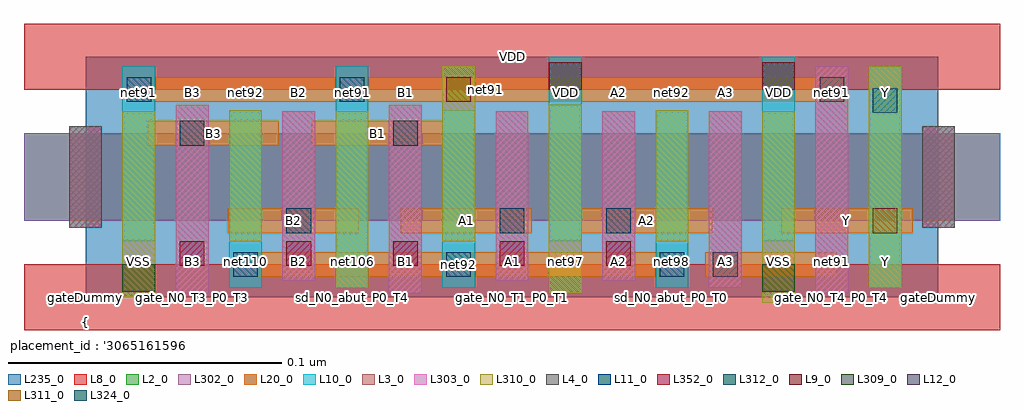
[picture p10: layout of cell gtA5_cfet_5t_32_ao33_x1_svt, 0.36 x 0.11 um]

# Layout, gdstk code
import gdstk
lib = gdstk.Library(unit=1e-6, precision=2.5e-10)
def R(c, l, rs):  # rectangles x0, y0, x1, y1
    for r in rs: c.add(gdstk.rectangle(r[:2], r[2:], *l))
def A(c, l, x, y, w, h, nx, ny, dx, dy):  # array of equal rectangles
    R(c, l, [(x+i*dx, y+j*dy, x+i*dx+w, y+j*dy+h) for i in range(nx) for j in range(ny)])
L2_0 = (2, 0)
L3_0 = (3, 0)
L4_0 = (4, 0)
L8_0 = (8, 0)
L9_0 = (9, 0)
L10_0 = (10, 0)
L11_0 = (11, 0)
L12_0 = (12, 0)
L20_0 = (20, 0)
L235_0 = (235, 0)
L302_0 = (302, 0)
L303_0 = (303, 0)
L309_0 = (309, 0)
L310_0 = (310, 0)
L311_0 = (311, 0)
L312_0 = (312, 0)
L324_0 = (324, 0)
L352_0 = (352, 0)

gta5_cfet_5t_32_ao33_x1_ = lib.new_cell('gtA5_cfet_5t_32_ao33_x1_svt')
R(gta5_cfet_5t_32_ao33_x1_, L2_0, [(-0.0225,0.028,0.3345,0.06)])
R(gta5_cfet_5t_32_ao33_x1_, L3_0, [(0.033,0.0015,0.045,0.0705), (0.111,0.0015,0.123,0.0705), (0.267,0.0015,0.279,0.0845), (0.228,0.0035,0.24,0.068), (0.072,0.006,0.084,0.068), (0.15,0.006,0.162,0.068), (0.189,0.006,0.201,0.068), (-0.006,0.0255,0.006,0.0625), (0.306,0.0255,0.318,0.0625)])
R(gta5_cfet_5t_32_ao33_x1_, L4_0, [(-0.006,0.0255,0.006,0.0625), (0.306,0.0255,0.318,0.0625)])
R(gta5_cfet_5t_32_ao33_x1_, L8_0, [(-0.0225,-0.012,0.3345,0.012), (-0.0225,0.076,0.3345,0.1)])
R(gta5_cfet_5t_32_ao33_x1_, L9_0, [(0.1695,0.076,0.1815,0.086), (0.2475,0.076,0.2595,0.086)])
A(gta5_cfet_5t_32_ao33_x1_, L10_0, 0.0525, 0.0035, 0.012, 0.065, 3, 1, 0.078, 0)
R(gta5_cfet_5t_32_ao33_x1_, L10_0, [(0.0915,0.0035,0.1035,0.0845), (0.2865,0.0035,0.2985,0.0845), (0.0135,0.0205,0.0255,0.0845), (0.1695,0.0205,0.1815,0.088), (0.2475,0.0205,0.2595,0.088)])
A(gta5_cfet_5t_32_ao33_x1_, L11_0, 0.054, 0.0075, 0.009, 0.009, 3, 1, 0.078, 0)
R(gta5_cfet_5t_32_ao33_x1_, L11_0, [(0.015,0.0715,0.024,0.0805), (0.093,0.0715,0.102,0.0805)])
R(gta5_cfet_5t_32_ao33_x1_, L12_0, [(0.2295,0.0075,0.2385,0.0165), (0.2685,0.0715,0.2775,0.0805)])
R(gta5_cfet_5t_32_ao33_x1_, L20_0, [(0.054,0.0075,0.219,0.0165), (0.2268,0.0075,0.2747,0.0165), (0.052,0.0235,0.1,0.0325), (0.1153,0.0235,0.1633,0.0325), (0.1812,0.0235,0.2293,0.0325), (0.2545,0.0235,0.3025,0.0325), (0.0227,0.0555,0.0708,0.0645), (0.0828,0.0555,0.1308,0.0645), (0.015,0.0715,0.2775,0.0805)])
R(gta5_cfet_5t_32_ao33_x1_, L235_0, [(0,0,0.312,0.088)])
R(gta5_cfet_5t_32_ao33_x1_, L302_0, [(-0.0225,0.028,0.3345,0.06)])
R(gta5_cfet_5t_32_ao33_x1_, L303_0, [(0.033,0.0015,0.045,0.0705), (0.111,0.0015,0.123,0.0705), (0.267,0.0015,0.279,0.0845), (0.228,0.0035,0.24,0.068), (0.072,0.006,0.084,0.068), (0.15,0.006,0.162,0.068), (0.189,0.006,0.201,0.068), (-0.006,0.0255,0.006,0.0625), (0.306,0.0255,0.318,0.0625)])
R(gta5_cfet_5t_32_ao33_x1_, L309_0, [(0.0135,0.002,0.0255,0.012), (0.2475,0.002,0.2595,0.012)])
R(gta5_cfet_5t_32_ao33_x1_, L310_0, [(0.2475,-0.002,0.2595,0.068), (0.0135,0,0.0255,0.068), (0.1695,0.0015,0.1815,0.0705), (0.0915,0.0035,0.1035,0.068), (0.2865,0.0035,0.2985,0.0845), (0.0525,0.0205,0.0645,0.0685), (0.1305,0.0205,0.1425,0.0845), (0.2085,0.0205,0.2205,0.0685)])
R(gta5_cfet_5t_32_ao33_x1_, L311_0, [(0.288,0.0235,0.297,0.0325), (0.132,0.0715,0.141,0.0805)])
R(gta5_cfet_5t_32_ao33_x1_, L312_0, [(0.0735,0.0235,0.0825,0.0325), (0.1515,0.0235,0.1605,0.0325), (0.1905,0.0235,0.1995,0.0325), (0.0345,0.0555,0.0435,0.0645), (0.1125,0.0555,0.1215,0.0645)])
R(gta5_cfet_5t_32_ao33_x1_, L324_0, [(0.288,0.0675,0.297,0.0765)])
A(gta5_cfet_5t_32_ao33_x1_, L352_0, 0.0345, 0.0115, 0.009, 0.009, 5, 1, 0.039, 0)
gta5_cfet_5t_32_ao33_x1_.add(gdstk.Label('net92', (0.1365,0.012), layer=100, texttype=100))
gta5_cfet_5t_32_ao33_x1_.add(gdstk.Label('net91', (0.1462,0.076), layer=100, texttype=100))
gta5_cfet_5t_32_ao33_x1_.add(gdstk.Label('gateDummy', (0,0), layer=103, texttype=103))
gta5_cfet_5t_32_ao33_x1_.add(gdstk.Label('sd_N0_VSS_P0_T4', (0.0195,0), layer=103, texttype=103))
gta5_cfet_5t_32_ao33_x1_.add(gdstk.Label('gate_N0_T3_P0_T3', (0.039,0), layer=103, texttype=103))
gta5_cfet_5t_32_ao33_x1_.add(gdstk.Label('sd_N0_abut_P0_T0', (0.0585,0), layer=103, texttype=103))
gta5_cfet_5t_32_ao33_x1_.add(gdstk.Label('gate_N0_T1_P0_T1', (0.078,0), layer=103, texttype=103))
gta5_cfet_5t_32_ao33_x1_.add(gdstk.Label('sd_N0_abut_P0_T4', (0.0975,0), layer=103, texttype=103))
gta5_cfet_5t_32_ao33_x1_.add(gdstk.Label('gate_N0_T3_P0_T3', (0.117,0), layer=103, texttype=103))
gta5_cfet_5t_32_ao33_x1_.add(gdstk.Label('sd_N0_T4_P0_T0', (0.1365,0), layer=103, texttype=103))
gta5_cfet_5t_32_ao33_x1_.add(gdstk.Label('gate_N0_T1_P0_T1', (0.156,0), layer=103, texttype=103))
gta5_cfet_5t_32_ao33_x1_.add(gdstk.Label('sd_P0_VDD', (0.1755,0), layer=103, texttype=103))
gta5_cfet_5t_32_ao33_x1_.add(gdstk.Label('gate_N0_T1_P0_T1', (0.195,0), layer=103, texttype=103))
gta5_cfet_5t_32_ao33_x1_.add(gdstk.Label('sd_N0_abut_P0_T0', (0.2145,0), layer=103, texttype=103))
gta5_cfet_5t_32_ao33_x1_.add(gdstk.Label('gate_N0_T0_P0_T0', (0.234,0), layer=103, texttype=103))
gta5_cfet_5t_32_ao33_x1_.add(gdstk.Label('sd_N0_VSS_P0_VDD', (0.2535,0), layer=103, texttype=103))
gta5_cfet_5t_32_ao33_x1_.add(gdstk.Label('gate_N0_T4_P0_T4', (0.273,0), layer=103, texttype=103))
gta5_cfet_5t_32_ao33_x1_.add(gdstk.Label('sd_N0_T1_P0_T1', (0.2925,0), layer=103, texttype=103))
gta5_cfet_5t_32_ao33_x1_.add(gdstk.Label('gateDummy', (0.312,0), layer=103, texttype=103))
gta5_cfet_5t_32_ao33_x1_.add(gdstk.Label('}', (0,-0.0963), layer=104, texttype=104))
gta5_cfet_5t_32_ao33_x1_.add(gdstk.Label('  power : None', (0,-0.0875), layer=104, texttype=104))
gta5_cfet_5t_32_ao33_x1_.add(gdstk.Label('  performance : None', (0,-0.0788), layer=104, texttype=104))
gta5_cfet_5t_32_ao33_x1_.add(gdstk.Label("  solution_hash : '10733331949933401228'", (0,-0.07), layer=104, texttype=104))
gta5_cfet_5t_32_ao33_x1_.add(gdstk.Label('  number_m2 : 0', (0,-0.0612), layer=104, texttype=104))
gta5_cfet_5t_32_ao33_x1_.add(gdstk.Label('  number_m1 : 0', (0,-0.0525), layer=104, texttype=104))
gta5_cfet_5t_32_ao33_x1_.add(gdstk.Label('  number_m0cuts : 0', (0,-0.0438), layer=104, texttype=104))
gta5_cfet_5t_32_ao33_x1_.add(gdstk.Label('  number_m0 : 9', (0,-0.035), layer=104, texttype=104))
gta5_cfet_5t_32_ao33_x1_.add(gdstk.Label("  solution_number : '0000'", (0,-0.0262), layer=104, texttype=104))
gta5_cfet_5t_32_ao33_x1_.add(gdstk.Label("  placement_id : '3065161596081306661'", (0,-0.0175), layer=104, texttype=104))
gta5_cfet_5t_32_ao33_x1_.add(gdstk.Label('{', (0,-0.0088), layer=104, texttype=104))
gta5_cfet_5t_32_ao33_x1_.add(gdstk.Label('VSS', (0.0195,0.0132), layer=105, texttype=105))
gta5_cfet_5t_32_ao33_x1_.add(gdstk.Label('B3', (0.039,0.0132), layer=105, texttype=105))
gta5_cfet_5t_32_ao33_x1_.add(gdstk.Label('net110', (0.0585,0.0132), layer=105, texttype=105))
gta5_cfet_5t_32_ao33_x1_.add(gdstk.Label('B2', (0.078,0.0132), layer=105, texttype=105))
gta5_cfet_5t_32_ao33_x1_.add(gdstk.Label('net106', (0.0975,0.0132), layer=105, texttype=105))
gta5_cfet_5t_32_ao33_x1_.add(gdstk.Label('B1', (0.117,0.0132), layer=105, texttype=105))
gta5_cfet_5t_32_ao33_x1_.add(gdstk.Label('net91', (0.1365,0.0132), layer=105, texttype=105))
gta5_cfet_5t_32_ao33_x1_.add(gdstk.Label('A1', (0.156,0.0132), layer=105, texttype=105))
gta5_cfet_5t_32_ao33_x1_.add(gdstk.Label('net97', (0.1755,0.0132), layer=105, texttype=105))
gta5_cfet_5t_32_ao33_x1_.add(gdstk.Label('A2', (0.195,0.0132), layer=105, texttype=105))
gta5_cfet_5t_32_ao33_x1_.add(gdstk.Label('net98', (0.2145,0.0132), layer=105, texttype=105))
gta5_cfet_5t_32_ao33_x1_.add(gdstk.Label('A3', (0.234,0.0132), layer=105, texttype=105))
gta5_cfet_5t_32_ao33_x1_.add(gdstk.Label('VSS', (0.2535,0.0132), layer=105, texttype=105))
gta5_cfet_5t_32_ao33_x1_.add(gdstk.Label('net91', (0.273,0.0132), layer=105, texttype=105))
gta5_cfet_5t_32_ao33_x1_.add(gdstk.Label('Y', (0.2925,0.0132), layer=105, texttype=105))
gta5_cfet_5t_32_ao33_x1_.add(gdstk.Label('net91', (0.0195,0.0747), layer=105, texttype=105))
gta5_cfet_5t_32_ao33_x1_.add(gdstk.Label('B3', (0.039,0.0747), layer=105, texttype=105))
gta5_cfet_5t_32_ao33_x1_.add(gdstk.Label('net92', (0.0585,0.0747), layer=105, texttype=105))
gta5_cfet_5t_32_ao33_x1_.add(gdstk.Label('B2', (0.078,0.0747), layer=105, texttype=105))
gta5_cfet_5t_32_ao33_x1_.add(gdstk.Label('net91', (0.0975,0.0747), layer=105, texttype=105))
gta5_cfet_5t_32_ao33_x1_.add(gdstk.Label('B1', (0.117,0.0747), layer=105, texttype=105))
gta5_cfet_5t_32_ao33_x1_.add(gdstk.Label('net92', (0.1365,0.0747), layer=105, texttype=105))
gta5_cfet_5t_32_ao33_x1_.add(gdstk.Label('A1', (0.156,0.0747), layer=105, texttype=105))
gta5_cfet_5t_32_ao33_x1_.add(gdstk.Label('VDD', (0.1755,0.0747), layer=105, texttype=105))
gta5_cfet_5t_32_ao33_x1_.add(gdstk.Label('A2', (0.195,0.0747), layer=105, texttype=105))
gta5_cfet_5t_32_ao33_x1_.add(gdstk.Label('net92', (0.2145,0.0747), layer=105, texttype=105))
gta5_cfet_5t_32_ao33_x1_.add(gdstk.Label('A3', (0.234,0.0747), layer=105, texttype=105))
gta5_cfet_5t_32_ao33_x1_.add(gdstk.Label('VDD', (0.2535,0.0747), layer=105, texttype=105))
gta5_cfet_5t_32_ao33_x1_.add(gdstk.Label('net91', (0.273,0.0747), layer=105, texttype=105))
gta5_cfet_5t_32_ao33_x1_.add(gdstk.Label('Y', (0.2925,0.0747), layer=105, texttype=105))
gta5_cfet_5t_32_ao33_x1_.add(gdstk.Label('VSS', (0.156,0), layer=8, texttype=0))
gta5_cfet_5t_32_ao33_x1_.add(gdstk.Label('VDD', (0.156,0.088), layer=8, texttype=0))
gta5_cfet_5t_32_ao33_x1_.add(gdstk.Label('A3', (0.2508,0.012), layer=20, texttype=251))
gta5_cfet_5t_32_ao33_x1_.add(gdstk.Label('B2', (0.076,0.028), layer=20, texttype=251))
gta5_cfet_5t_32_ao33_x1_.add(gdstk.Label('A1', (0.1393,0.028), layer=20, texttype=251))
gta5_cfet_5t_32_ao33_x1_.add(gdstk.Label('A2', (0.2053,0.028), layer=20, texttype=251))
gta5_cfet_5t_32_ao33_x1_.add(gdstk.Label('Y', (0.2785,0.028), layer=20, texttype=251))
gta5_cfet_5t_32_ao33_x1_.add(gdstk.Label('B3', (0.0467,0.06), layer=20, texttype=251))
gta5_cfet_5t_32_ao33_x1_.add(gdstk.Label('B1', (0.1067,0.06), layer=20, texttype=251))
gta5_cfet_5t_32_ao33_x1_.add(gdstk.Label('gtA5_cfet_5t_32_ao33_x1_rvt_0', (0,0), layer=235, texttype=0))

lib.write_gds('gtA5_cfet_5t_32_ao33_x1_svt.gds')
